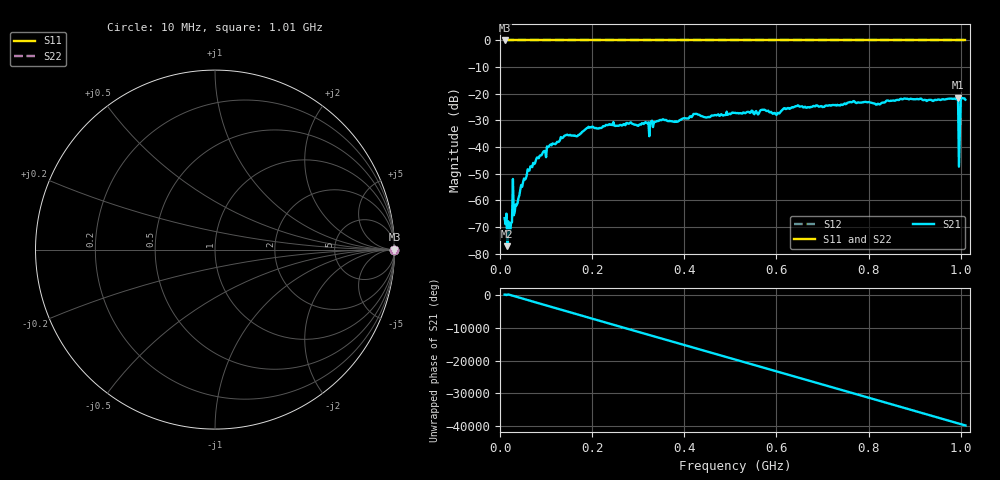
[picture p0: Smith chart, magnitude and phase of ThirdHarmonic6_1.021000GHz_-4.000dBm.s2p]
! 8/16/2025 8:33:35 AM
! C:\ANRITSUVNA\TEMP\TEMP.S2P
! CHANNEL.1
! TR.MEASUREMENT
! RAW.DATA
! RF.CORRECTION.OFF
! AVERAGING.OFF
! IF.BANDWIDTH: 5KHZ
! SWEEPTYPE:  FREQ.SWEEP(Linear)
! Reference Plane Port Info
! PORT:  PORT1  PORT2
! DISTANCE:  0  m  0  m
! TIME:  0  s  0  s
! PHASE.OFFSET:  0  deg.  0  deg.
! LOSS:  0  dB  0  dB
! REF.LOSS:  0  dB  0  dB
! REF.FREQ:  0  Hz  0  Hz
! Power Info
! POWER:  -20  dBm  -20  dBm
! EFF.POWER:  -20  dBm  -20  dBm
! SOURCE.ATTEN:  0  dB  0  dB
! TEST.ATTEN:  0  dB  0  dB
# GHZ S RI R 50.0
! FREQ.GHZ  S11RE  S11IM  S21RE  S21IM  S12RE  S12IM  S22RE  S22IM
!; PortSelection: Port_12
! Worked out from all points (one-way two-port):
!   501 points, 10 MHz to 1.01 GHz, reference 50 ohm
!   highest |S21| = -21.49 dB at 994 MHz (marker M1); lowest = -77.2 dB at 16 MHz (marker M2)
!   lowest |S11| = 0.0 dB at 10 MHz (marker M3)
!   |S11| at or under -10 dB: nowhere
!   |S22| runs from 0.0 to 0.0 dB; largest |S21 - S12| = 1.1
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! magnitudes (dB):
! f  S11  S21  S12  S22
! 10 MHz  0.0  -66.7  0.0  0.0
! 16 MHz  0.0  -77.2  0.0  0.0
! 20 MHz  0.0  -71.2  0.0  0.0
! 24 MHz  0.0  -68.4  0.0  0.0
! 32 MHz  0.0  -64.3  0.0  0.0
! 34 MHz  0.0  -61.5  0.0  0.0
! 48 MHz  0.0  -55.0  0.0  0.0
! 82 MHz  0.0  -43.9  0.0  0.0
! 142 MHz  0.0  -35.7  0.0  0.0
! 178 MHz  0.0  -34.4  0.0  0.0
! 242 MHz  0.0  -31.6  0.0  0.0
! 328 MHz  0.0  -30.5  0.0  0.0
! 344 MHz  0.0  -30.2  0.0  0.0
! 510 MHz  0.0  -27.1  0.0  0.0
! 602 MHz  0.0  -27.2  0.0  0.0
! 678 MHz  0.0  -24.9  0.0  0.0
! 844 MHz  0.0  -22.7  0.0  0.0
! 990 MHz  0.0  -22.0  0.0  0.0
! 994 MHz  0.0  -21.5  0.0  0.0
! 1 GHz  0.0  -21.6  0.0  0.0
! 1.004 GHz  0.0  -21.7  0.0  0.0
! 1.01 GHz  0.0  -22.2  0.0  0.0
